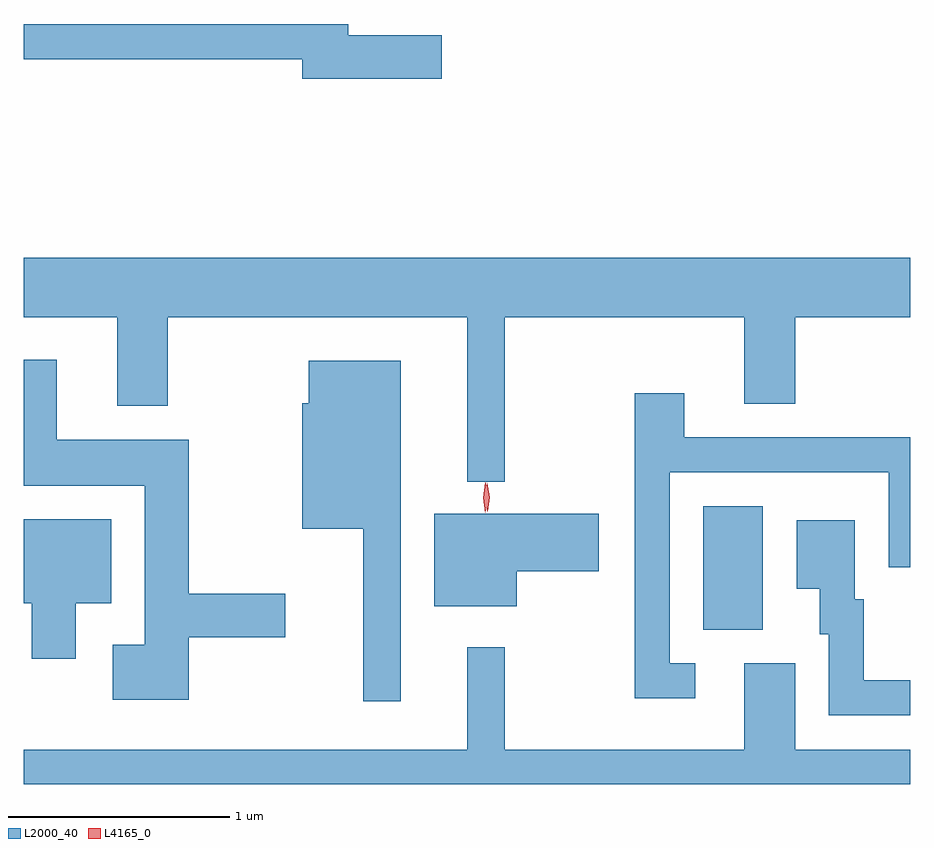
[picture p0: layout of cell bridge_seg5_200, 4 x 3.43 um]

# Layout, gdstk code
import gdstk
lib = gdstk.Library(unit=1e-6, precision=1e-09)
def R(c, l, rs):  # rectangles x0, y0, x1, y1
    for r in rs: c.add(gdstk.rectangle(r[:2], r[2:], *l))
def P(c, l, *ps):  # polygons
    for p in ps: c.add(gdstk.Polygon(p, *l))
L2000_40 = (2000, 40)
L4165_0 = (4165, 0)

bridge_seg5_200 = lib.new_cell('bridge_seg5_200')
R(bridge_seg5_200, L2000_40, [(1320.416,1406.546,1320.684,1407.104)])
P(bridge_seg5_200, L2000_40, [(1319.234,1409.229),(1318.814,1409.229),(1318.814,1409.279),(1317.349,1409.279),(1317.349,1409.121),(1318.606,1409.121),(1318.606,1409.031),(1319.234,1409.031)],
  [(1319.519,1407.956),(1320.601,1407.956),(1320.601,1407.566),(1320.829,1407.566),(1320.829,1407.956),(1321.349,1407.956),(1321.349,1408.224),(1317.349,1408.224),(1317.349,1407.956),(1317.771,1407.956),(1317.771,1407.556),(1317.999,1407.556),(1317.999,1407.956),(1319.351,1407.956),(1319.351,1407.213),(1319.519,1407.213)],
  [(1318.094,1406.511),(1318.529,1406.511),(1318.529,1406.709),(1318.094,1406.709),(1318.094,1407.404),(1317.499,1407.404),(1317.499,1407.764),(1317.349,1407.764),(1317.349,1407.196),(1317.896,1407.196),(1317.896,1406.479),(1317.751,1406.479),(1317.751,1406.231),(1318.094,1406.231)],
  [(1319.049,1407.759),(1318.636,1407.759),(1318.636,1407.569),(1318.606,1407.569),(1318.606,1407.001),(1318.881,1407.001),(1318.881,1406.223),(1319.049,1406.223)],
  [(1320.378,1406.394),(1320.264,1406.394),(1320.264,1407.256),(1321.251,1407.256),(1321.251,1406.828),(1321.349,1406.828),(1321.349,1407.414),(1320.329,1407.414),(1320.329,1407.614),(1320.106,1407.614),(1320.106,1406.236),(1320.378,1406.236)],
  [(1319.574,1406.811),(1319.944,1406.811),(1319.944,1407.069),(1319.201,1407.069),(1319.201,1406.651),(1319.574,1406.651)],
  [(1317.584,1406.666),(1317.744,1406.666),(1317.744,1407.044),(1317.349,1407.044),(1317.349,1406.666),(1317.386,1406.666),(1317.386,1406.416),(1317.584,1406.416)],
  [(1321.349,1406.319),(1321.139,1406.319),(1321.139,1406.684),(1321.099,1406.684),(1321.099,1407.039),(1320.836,1407.039),(1320.836,1406.731),(1320.941,1406.731),(1320.941,1406.526),(1320.981,1406.526),(1320.981,1406.161),(1321.349,1406.161)],
  [(1321.349,1406.004),(1320.829,1406.004),(1320.829,1406.394),(1320.601,1406.394),(1320.601,1406.004),(1319.519,1406.004),(1319.519,1406.468),(1319.351,1406.468),(1319.351,1406.004),(1317.349,1406.004),(1317.349,1405.85),(1321.349,1405.85)])
P(bridge_seg5_200, L4165_0, [(1319.441,1407.08),(1319.441,1407.08),(1319.431,1407.144),(1319.44,1407.206),(1319.441,1407.207),(1319.441,1407.206),(1319.451,1407.144),(1319.442,1407.08)],
  [(1319.431,1407.074),(1319.422,1407.142),(1319.432,1407.21),(1319.433,1407.21),(1319.434,1407.21),(1319.442,1407.142),(1319.432,1407.074),(1319.432,1407.074)])

lib.write_gds('bridge_seg5_200.gds')
